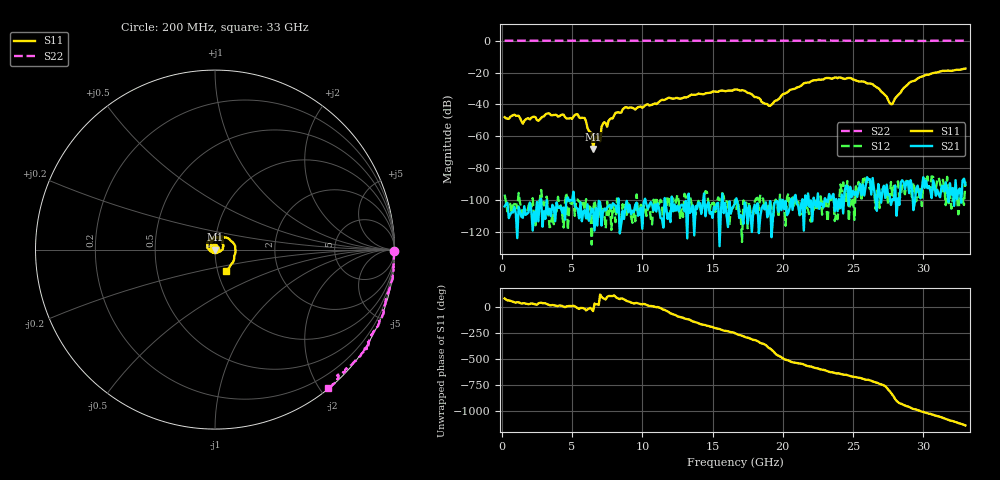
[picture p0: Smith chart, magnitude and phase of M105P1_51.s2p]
# GHZ S RI R 50
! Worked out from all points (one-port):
!   329 points, 200 MHz to 33 GHz, reference 50 ohm
!   lowest |S11| = -67.8 dB at 6.5 GHz (marker M1), VSWR 1.00, Z = 50 - j0.0265 ohm
!   |S11| at or under -10 dB: start of sweep to end of sweep
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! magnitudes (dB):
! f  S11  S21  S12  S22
! 200 MHz  -48.0  -103.9  -96.5  0.0
! 1.2 GHz  -47.1  -104.1  -95.5  0.0
! 1.5 GHz  -52.0  -111.0  -111.6  0.0
! 3.3 GHz  -45.6  -108.9  -106.0  0.0
! 5.7 GHz  -48.3  -113.2  -104.4  0.0
! 6.4 GHz  -58.0  -105.3  -127.9  0.0
! 6.5 GHz  -67.8  -105.9  -106.1  0.0
! 6.7 GHz  -60.4  -104.9  -105.5  0.0
! 7 GHz  -63.0  -101.2  -102.6  0.0
! 7.1 GHz  -54.0  -115.9  -106.0  0.0
! 7.2 GHz  -52.1  -107.1  -105.9  0.0
! 7.5 GHz  -54.0  -104.5  -100.8  0.0
! 8.1 GHz  -45.3  -103.7  -113.8  0.0
! 11.2 GHz  -38.3  -105.3  -102.0  -0.1
! 16.6 GHz  -30.6  -101.8  -99.7  0.0
! 19.1 GHz  -40.9  -100.6  -100.7  -0.1
! 22.1 GHz  -25.1  -113.2  -106.3  0.0
! 24 GHz  -23.0  -99.3  -103.2  0.0
! 26.3 GHz  -27.0  -96.5  -92.7  0.0
! 27.6 GHz  -39.0  -97.1  -100.6  -0.1
! 29.8 GHz  -22.8  -98.8  -91.5  -0.1
! 33 GHz  -17.5  -90.3  -88.3  -0.1
